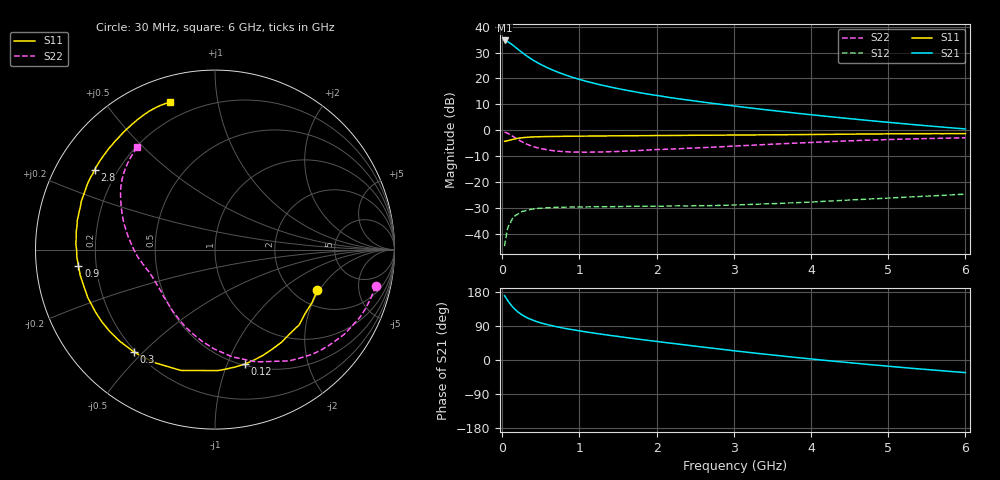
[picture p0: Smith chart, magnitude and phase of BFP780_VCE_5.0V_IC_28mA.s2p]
! Infineon Technologies  Discrete & RF Semiconductors
! BFP780
! VCE =  5.0 V,  IC =  28 mA
! Common Emitter S-Parameters:  Jul 2015
# GHz  S  MA  R  50
!  f  S11  S21  S12  S22
! GHz  MAG  ANG  MAG  ANG  MAG  ANG  MAG  ANG
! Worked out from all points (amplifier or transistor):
!   75 points, 30 MHz to 6 GHz, reference 50 ohm
!   highest |S21| = 34.7 dB at 30 MHz (marker M1)
!   |S21| within 3 dB of that: start of sweep to 185.8 MHz
!   unconditionally stable (mu >= 1): 2.16 GHz to end of sweep
!   at 150 MHz: K = 0.16, MSG = 32.9 dB, |S12| = -33.2 dB
!   at 2.3 GHz: K = 1.05, MAG = 19.3 dB, |S12| = -29.1 dB
!   at 6 GHz: K = 1.24, MAG = 9.6 dB, |S12| = -24.7 dB
!   S11 on the Smith chart (normalised r, x): 30 MHz: 2.66, -1.91; 120 MHz: 0.51, -1.16; 300 MHz: 0.19, -0.47; 900 MHz: 0.13, -0.06; 2.8 GHz: 0.12, +0.30; 6 GHz: 0.12, +0.73
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0.03  0.613 -21.5  54.02 169.9  0.0058 66.0  0.9185 -12.8
0.05  0.6158 -35.5  52.81 163.2  0.0088 57.3  0.9008 -21.5
0.07  0.6273 -48.3  51.12 157.0  0.0127 56.4  0.8728 -29.4
0.09  0.6397 -60.0  49.03 151.3  0.0153 56.2  0.8428 -36.9
0.12  0.659 -75.5  45.65 143.4  0.0182 50.7  0.7946 -47.3
0.15  0.6742 -88.5  42.19 136.6  0.0218 47.8  0.7435 -56.5
0.2  0.6995 -105.7  36.78 127.2  0.024 40.2  0.6663 -69.9
0.25  0.7153 -118.5  32.15 119.8  0.0268 34.4  0.6055 -80.8
0.3  0.7273 -128.4  28.27 113.7  0.0281 30.4  0.5544 -90.3
0.35  0.7366 -136.3  25.1 108.8  0.0294 27.2  0.5152 -98.2
0.4  0.7432 -142.5  22.5 104.7  0.0303 24.8  0.4849 -104.9
0.5  0.751 -152.1  18.53 97.9  0.0314 20.5  0.4417 -116.0
0.7  0.7591 -164.8  13.55 87.9  0.0325 16.4  0.3966 -131.9
0.9  0.7658 -173.3  10.62 80.2  0.033 14.1  0.3796 -142.8
1.1  0.771 -179.7  8.695 73.7  0.0332 12.7  0.3768 -150.9
1.5  0.78 170.3  6.351 62.2  0.0337 11.8  0.3896 -162.0
2.1  0.7924 158.5  4.441 46.4  0.0343 12.4  0.4284 -173.5
2.8  0.8049 146.5  3.203 29.3  0.0354 14.6  0.4772 173.9
3.1  0.8103 141.7  2.82 22.2  0.0365 16.1  0.5029 168.6
4.1  0.8302 127.2  1.925 0.7  0.0419 19.1  0.5907 152.7
5.1  0.854 115.5  1.38 -18.2  0.0501 18.5  0.6676 139.0
6  0.8599 107.0  1.059 -33.3  0.0585 14.7  0.7166 127.1
